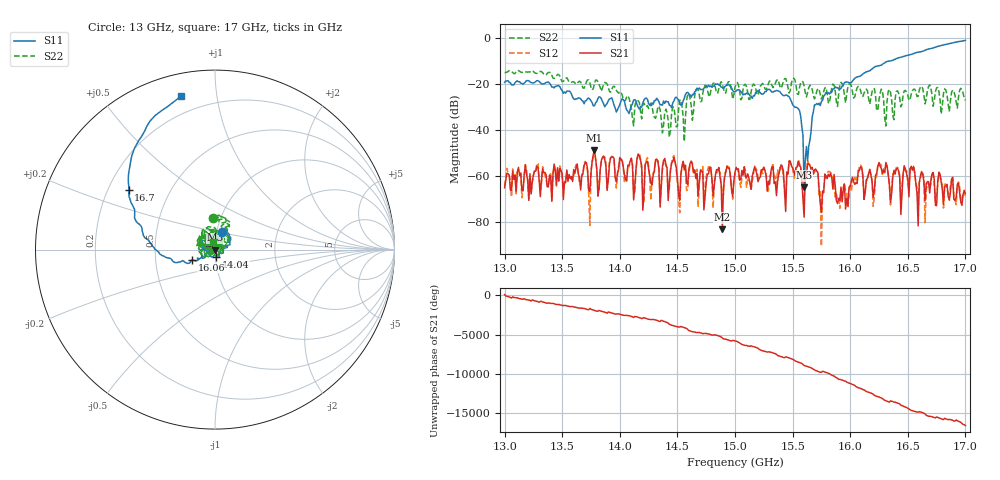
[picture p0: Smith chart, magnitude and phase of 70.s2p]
!Keysight Technologies,P9374A,MY57211807,A.19.30.04
!Date: Friday, May 01, 2026 14:24:02
!Correction: S11(C  2-Port  )
!S21(C  2-Port  )
!S12(C  2-Port  )
!S22(C  2-Port  )
!S2P File: Measurements: S11, S21, S12, S22:
# Hz S  RI  R 50
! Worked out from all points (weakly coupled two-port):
!   401 points, 13 GHz to 17 GHz, reference 50 ohm
!   highest |S21| = -48.76 dB at 13.78 GHz (marker M1); lowest = -83.0 dB at 14.89 GHz (marker M2)
!   lowest |S11| = -64.8 dB at 15.6 GHz (marker M3), VSWR 1.00, Z = 50.1 + j0.00911 ohm
!   |S11| at or under -10 dB: start of sweep to 16.35 GHz
!   |S22| runs from -45.0 to -14.2 dB; largest |S21 - S12| = 0.0006
!   S11 on the Smith chart (normalised r, x): 13 GHz: 1.06, +0.21; 14.04 GHz: 1.01, -0.08; 16.06 GHz: 0.77, -0.09; 16.7 GHz: 0.29, +0.29; 17 GHz: 0.11, +0.80
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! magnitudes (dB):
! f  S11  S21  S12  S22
! 13 GHz  -19.4  -65.1  -64.4  -15.1
! 13.67 GHz  -27.2  -60.1  -59.2  -20.3
! 13.74 GHz  -26.7  -66.7  -81.4  -19.5
! 13.78 GHz  -29.5  -48.8  -49.0  -19.9
! 14.04 GHz  -27.5  -59.4  -62.4  -27.3
! 14.34 GHz  -27.7  -57.1  -56.8  -29.7
! 14.47 GHz  -27.4  -51.9  -51.1  -30.1
! 14.51 GHz  -26.9  -67.6  -68.8  -31.1
! 14.89 GHz  -21.6  -83.0  -68.5  -20.0
! 15 GHz  -23.4  -58.5  -59.0  -21.5
! 15.46 GHz  -25.3  -59.1  -59.0  -21.7
! 15.56 GHz  -31.6  -55.7  -54.6  -21.6
! 15.6 GHz  -64.8  -77.9  -70.5  -20.9
! 15.62 GHz  -47.2  -60.4  -59.7  -25.7
! 15.67 GHz  -34.3  -56.2  -57.6  -22.4
! 15.75 GHz  -27.7  -75.8  -90.4  -26.6
! 15.81 GHz  -23.8  -59.2  -58.0  -28.2
! 15.89 GHz  -21.6  -71.9  -70.4  -29.8
! 16.06 GHz  -17.0  -63.2  -60.7  -21.7
! 16.34 GHz  -10.0  -63.8  -62.9  -22.4
! 16.7 GHz  -4.7  -62.1  -63.8  -21.6
! 17 GHz  -1.2  -67.6  -68.5  -27.2
